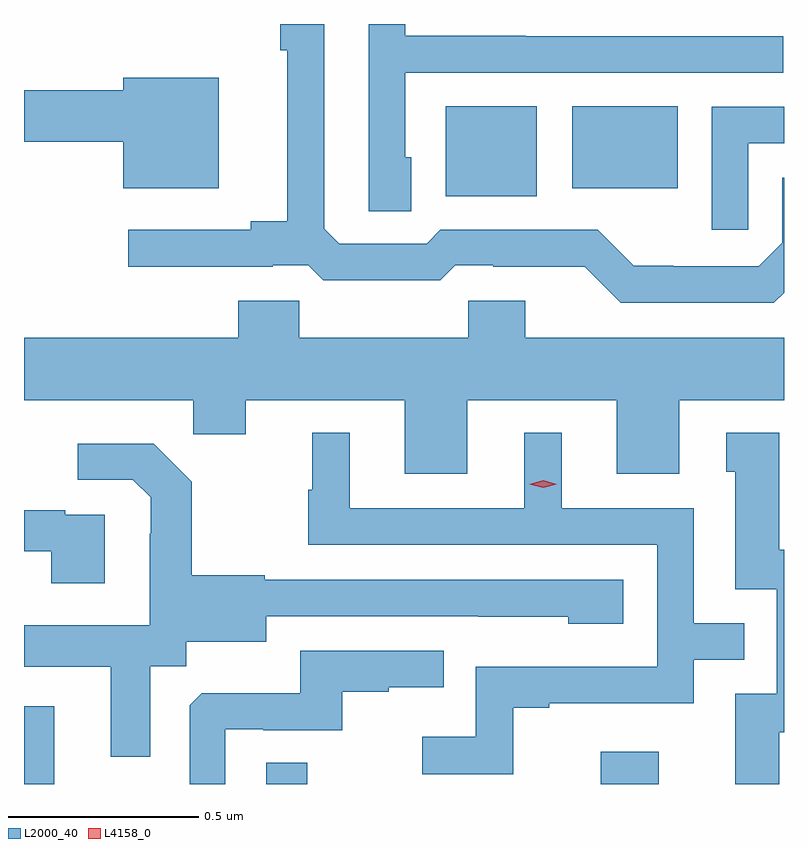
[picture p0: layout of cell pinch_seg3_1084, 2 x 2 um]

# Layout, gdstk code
import gdstk
lib = gdstk.Library(unit=1e-6, precision=1e-09)
def R(c, l, rs):  # rectangles x0, y0, x1, y1
    for r in rs: c.add(gdstk.rectangle(r[:2], r[2:], *l))
def P(c, l, *ps):  # polygons
    for p in ps: c.add(gdstk.Polygon(p, *l))
L2000_40 = (2000, 40)
L4158_0 = (4158, 0)

pinch_seg3_1084 = lib.new_cell('pinch_seg3_1084')
R(pinch_seg3_1084, L2000_40, [(252.563,702.57,252.643,702.775), (253.2,702.57,253.309,702.626), (254.081,702.57,254.233,702.655), (253.673,704.117,253.912,704.353), (254.006,704.138,254.284,704.353)])
P(pinch_seg3_1084, L2000_40, [(253.582,704.22),(253.566,704.22),(253.566,704.442),(254.561,704.442),(254.561,704.538),(253.883,704.538),(253.883,704.539),(253.566,704.539),(253.566,704.57),(253.47,704.57),(253.47,704.077),(253.582,704.077)],
  [(254.563,703.863),(254.563,704.166),(254.559,704.166),(254.559,703.995),(254.496,703.932),(254.272,703.932),(254.272,703.934),(254.168,703.934),(254.073,704.028),(253.659,704.028),(253.623,703.992),(253.392,703.992),(253.353,704.031),(253.353,704.57),(253.237,704.57),(253.237,704.501),(253.256,704.501),(253.256,704.051),(253.16,704.051),(253.16,704.028),(252.837,704.028),(252.837,703.931),(253.217,703.931),(253.217,703.935),(253.311,703.935),(253.351,703.896),(253.659,703.896),(253.698,703.935),(253.798,703.935),(253.798,703.931),(254.039,703.931),(254.133,703.836),(254.536,703.836)],
  [(253.075,704.428),(252.824,704.428),(252.824,704.396),(252.563,704.396),(252.563,704.26),(252.824,704.26),(252.824,704.138),(253.075,704.138)],
  [(254.469,704.256),(254.563,704.256),(254.563,704.352),(254.373,704.352),(254.373,704.028),(254.469,704.028)],
  [(253.729,703.58),(254.123,703.58),(254.123,703.386),(254.287,703.386),(254.287,703.58),(254.563,703.58),(254.563,703.744),(253.882,703.744),(253.882,703.842),(253.732,703.842),(253.732,703.744),(253.287,703.744),(253.287,703.842),(253.127,703.842),(253.127,703.744),(252.563,703.744),(252.563,703.58),(253.009,703.58),(253.009,703.49),(253.147,703.49),(253.147,703.58),(253.565,703.58),(253.565,703.386),(253.729,703.386)],
  [(254.551,702.706),(254.563,702.706),(254.563,703.187),(254.551,703.187),(254.551,703.495),(254.411,703.495),(254.411,703.392),(254.435,703.392),(254.435,703.083),(254.544,703.083),(254.544,702.807),(254.435,702.807),(254.435,702.57),(254.551,702.57)],
  [(253.851,702.771),(253.945,702.771),(253.945,702.783),(254.325,702.783),(254.325,702.897),(254.459,702.897),(254.459,702.993),(254.325,702.993),(254.325,703.296),(253.978,703.296),(253.978,703.495),(253.88,703.495),(253.88,703.296),(253.42,703.296),(253.42,703.495),(253.322,703.495),(253.322,703.344),(253.311,703.344),(253.311,703.2),(254.229,703.2),(254.229,702.879),(253.752,702.879),(253.752,702.694),(253.611,702.694),(253.611,702.596),(253.851,702.596)],
  [(252.895,702.88),(252.99,702.88),(252.99,702.944),(253.201,702.944),(253.201,703.011),(253.759,703.011),(253.759,703.01),(253.995,703.01),(253.995,702.992),(254.14,702.992),(254.14,703.107),(253.197,703.107),(253.197,703.12),(253.005,703.12),(253.005,703.365),(252.905,703.465),(252.705,703.465),(252.705,703.371),(252.849,703.371),(252.896,703.324),(252.896,703.229),(252.894,703.229),(252.894,702.988),(252.563,702.988),(252.563,702.878),(252.791,702.878),(252.791,702.642),(252.895,702.642)],
  [(252.775,703.278),(252.671,703.278),(252.671,703.291),(252.563,703.291),(252.563,703.182),(252.635,703.182),(252.635,703.098),(252.775,703.098)],
  [(253.092,702.714),(253.192,702.714),(253.192,702.711),(253.4,702.711),(253.4,702.813),(253.523,702.813),(253.523,702.824),(253.667,702.824),(253.667,702.921),(253.29,702.921),(253.29,702.809),(253.031,702.809),(252.999,702.777),(252.999,702.57),(253.092,702.57)])
P(pinch_seg3_1084, L4158_0, [(253.929,703.349),(253.893,703.359),(253.893,703.359),(253.893,703.359),(253.929,703.369),(253.965,703.359),(253.965,703.359),(253.965,703.359)])

lib.write_gds('pinch_seg3_1084.gds')
